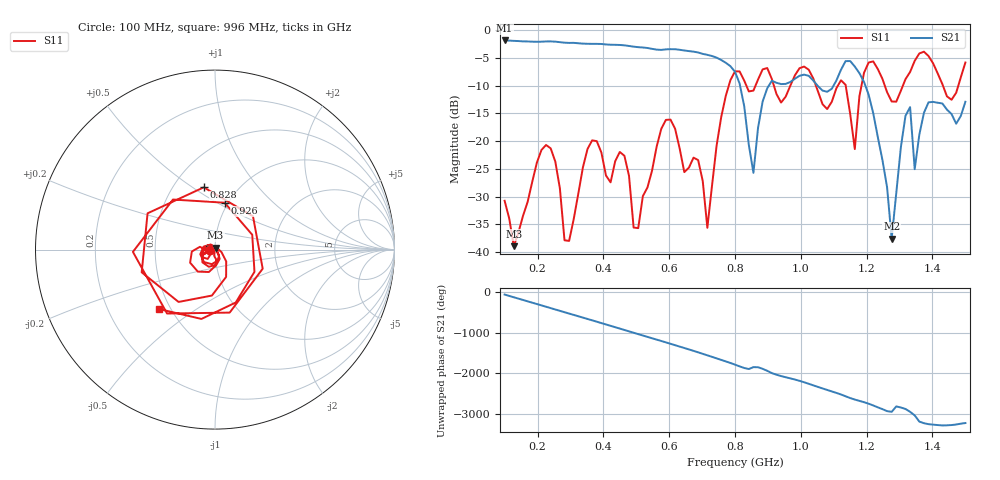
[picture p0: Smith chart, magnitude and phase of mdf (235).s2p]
! NanoVNA-App
! Date: 2025-09-25 15:40:15
! Start: 100MHz Stop: 1,5GHz Points: 101
! S-Parameter data: F S11 S21 S12 S22
# Hz S RI R 50
!  Frequency  S11_Real  S11_Imag  S21_Real  S21_Imag  S12_Real  S12_Imag  S22_Real  S22_Imag
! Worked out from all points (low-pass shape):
!   101 points, 100 MHz to 1.5 GHz, reference 50 ohm
!   highest |S21| = -1.80 dB at 100 MHz (marker M1); lowest = -37.6 dB at 1.276 GHz (marker M2)
!   |S21| within 3 dB of the highest: start of sweep to 739.2 MHz
!   lowest |S11| = -39.0 dB at 128 MHz (marker M3), VSWR 1.02, Z = 50.3 + j1.08 ohm
!   |S11| at or under -10 dB: start of sweep to 781 MHz; 1.046 GHz to 1.112 GHz (66.42 MHz wide, 6.16 % of centre); 1.255 GHz to 1.31 GHz (54.63 MHz wide, 4.26 % of centre) (the widest 3 of 7)
!   S12 and S22 are empty: the file has one direction only
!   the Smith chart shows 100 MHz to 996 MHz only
!   S11 on the Smith chart (normalised r, x): 100 MHz: 0.94, -0.01; 828 MHz: 0.70, +0.56; 926 MHz: 0.96, +0.54; 996 MHz: 0.43, -0.36
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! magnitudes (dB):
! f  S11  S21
! 100 MHz  -30.8  -1.8
! 128 MHz  -39.0  -1.9
! 212 MHz  -21.6  -2.0
! 282 MHz  -37.9  -2.2
! 338 MHz  -24.7  -2.4
! 464 MHz  -22.6  -2.7
! 506 MHz  -35.7  -3.0
! 576 MHz  -17.8  -3.5
! 716 MHz  -35.7  -4.4
! 800 MHz  -7.4  -7.5
! 828 MHz  -9.1  -13.7
! 856 MHz  -10.9  -25.7
! 926 MHz  -11.5  -9.5
! 996 MHz  -6.8  -8.2
! 1.038 GHz  -8.7  -9.1
! 1.136 GHz  -9.8  -5.5
! 1.164 GHz  -21.4  -6.5
! 1.192 GHz  -7.6  -9.3
! 1.276 GHz  -12.8  -37.6
! 1.332 GHz  -7.5  -13.9
! 1.346 GHz  -5.5  -25.1
! 1.5 GHz  -5.8  -12.9
